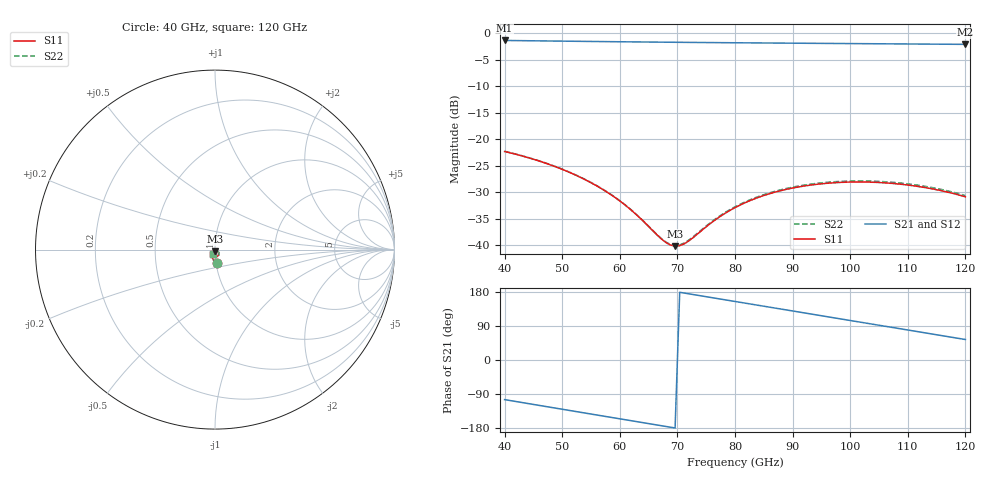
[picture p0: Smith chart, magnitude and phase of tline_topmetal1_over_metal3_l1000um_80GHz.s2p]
#  GHZ S DB R 50
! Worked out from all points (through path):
!   101 points, 40 GHz to 120 GHz, reference 50 ohm
!   highest |S21| = -1.34 dB at 40 GHz (marker M1); lowest = -2.1 dB at 120 GHz (marker M2)
!   group delay of S21, straight-line fit = 6.99 ps
!   lowest |S11| = -40.2 dB at 69.6 GHz (marker M3), VSWR 1.02, Z = 50.2 - j0.952 ohm
!   |S11| at or under -10 dB: start of sweep to end of sweep
!   |S22| runs from -40.1 to -22.3 dB; largest |S21 - S12| = 0
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40  -22.31 -81.6  -1.34 -104.6  -1.34 -104.6  -22.28 -81.6
46.4  -24.26 -96.0  -1.43 -120.8  -1.43 -120.8  -24.23 -96.1
53.6  -27.43 -110.2  -1.52 -139.1  -1.52 -139.1  -27.38 -110.3
57.6  -29.86 -116.0  -1.56 -149.2  -1.56 -149.2  -29.81 -116.0
60.8  -32.33 -117.9  -1.60 -157.2  -1.60 -157.2  -32.28 -117.9
63.2  -34.58 -116.3  -1.62 -163.3  -1.62 -163.3  -34.52 -116.2
67.2  -38.82 -99.4  -1.66 -173.3  -1.66 -173.3  -38.74 -99.1
68.8  -39.99 -84.5  -1.68 -177.4  -1.68 -177.4  -39.88 -84.2
69.6  -40.20 -75.9  -1.69 -179.4  -1.69 -179.4  -40.07 -75.6
70.4  -40.11 -67.3  -1.69 178.6  -1.69 178.6  -39.97 -67.1
72  -39.19 -52.7  -1.71 174.6  -1.71 174.6  -39.03 -52.6
76.8  -35.06 -35.4  -1.75 162.5  -1.75 162.5  -34.90 -35.5
80  -32.92 -35.3  -1.78 154.5  -1.78 154.5  -32.77 -35.5
83.2  -31.34 -38.6  -1.80 146.5  -1.80 146.5  -31.18 -38.9
86.4  -30.16 -43.7  -1.83 138.4  -1.83 138.4  -30.00 -43.9
90.4  -29.14 -51.2  -1.86 128.4  -1.86 128.4  -28.97 -51.4
93.6  -28.59 -57.7  -1.88 120.3  -1.88 120.3  -28.41 -57.9
97.6  -28.20 -66.4  -1.91 110.3  -1.91 110.3  -28.01 -66.6
100.8  -28.08 -73.5  -1.94 102.3  -1.94 102.3  -27.88 -73.6
107.2  -28.34 -87.9  -1.99 86.2  -1.99 86.2  -28.12 -88.0
113.6  -29.24 -102.3  -2.03 70.1  -2.03 70.1  -29.01 -102.3
120  -30.89 -116.2  -2.08 54.1  -2.08 54.1  -30.64 -116.1
